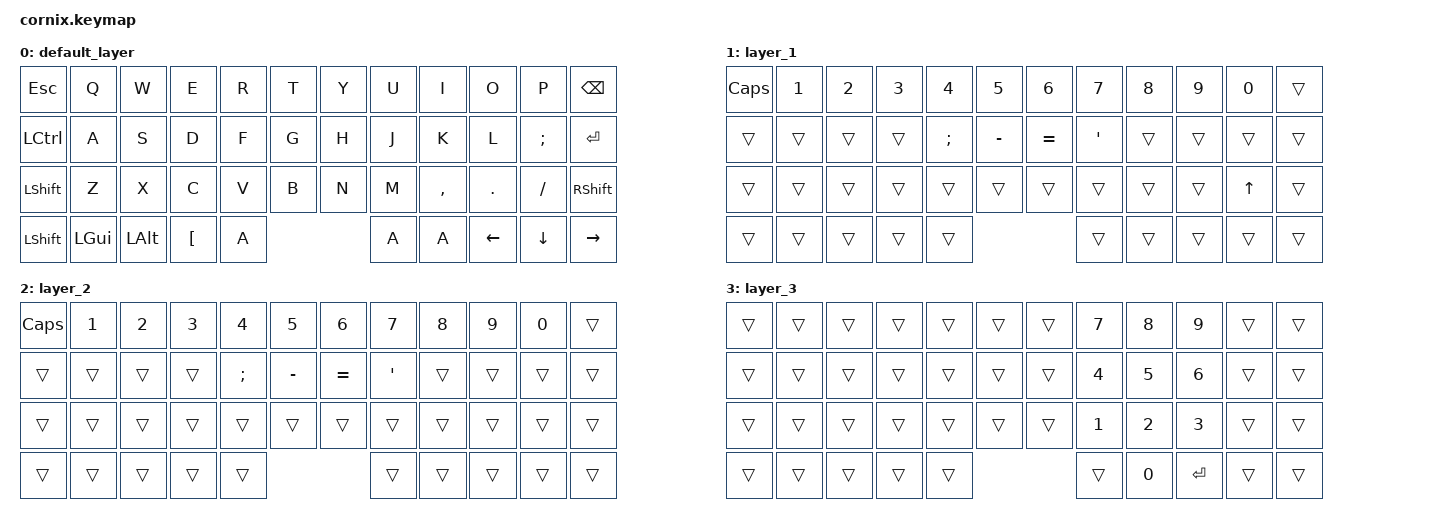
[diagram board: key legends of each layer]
#include <behaviors.dtsi>
#include <dt-bindings/zmk/keys.h>
#include <dt-bindings/zmk/bt.h>

/ {
    keymap {
        compatible = "zmk,keymap";

        default_layer {
            // Layer 0 (Base)
            // -----------------------------------------------------------------------------------------
            // |  ESC |  Q  |  W  |  E  |  R  |  T  |   |  Y  |  U   |  I  |  O  |  P  | BKSP |
            // | CTRL |  A  |  S  |  D  |  F  |  G  |   |  H  |  J   |  K  |  L  |  ;  | RET  |
            // | SHFT |  Z  |  X  |  C  |  V  |  B  |   |  N  |  M   |  ,  |  .  |  /  | SHFT |
            // | SHFT | GUI | ALT |            [  |  A  | A  |  A  |           | LFT | DWN | RGHT |
            bindings = <
&kp ESC   &kp Q    &kp W    &kp E   &kp R   &kp T      &kp Y   &kp U    &kp I     &kp O   &kp P    &kp BSPC
&kp LCTRL &kp A    &kp S    &kp D   &kp F   &kp G      &kp H   &kp J    &kp K     &kp L   &kp SEMI &kp RET
&kp LSHFT &kp Z    &kp X    &kp C   &kp V   &kp B      &kp N   &kp M    &kp COMMA &kp DOT &kp FSLH &kp RSHFT
&kp LSHFT &kp LGUI &kp LALT         &kp LBKT &kp A     &kp A   &kp A              &kp LEFT &kp DOWN &kp RIGHT
            >;
        };

        layer_1 {
            // Layer 1
            // -----------------------------------------------------------------------------------------
            // | CAPS |  1  |  2  |  3  |  4  |  5  |   |  6  |  7  |  8  |  9  |  0  |      |
            // |      |     |     |     |  ;  |  -  |   |  =  |  '  |     |     |     |      |
            // |      |     |     |     |     |     |   |     |     |     |     |  UP |      |
            // |      |     |     |           |     |   |     |     |           |     |     |      |
            bindings = <
&kp CAPS &kp N1 &kp N2 &kp N3 &kp N4   &kp N5      &kp N6    &kp N7  &kp N8 &kp N9 &kp N0 &trans
&trans   &trans &trans &trans &kp SEMI &kp MINUS   &kp EQUAL &kp SQT &trans &trans &trans &trans
&trans   &trans &trans &trans &trans   &trans      &trans    &trans  &trans &trans &kp UP &trans
&trans   &trans &trans        &trans   &trans      &trans    &trans         &trans &trans &trans
            >;
        };

        layer_2 {
            // Layer 2
            // -----------------------------------------------------------------------------------------
            // | CAPS |  1  |  2  |  3  |  4  |  5  |   |  6  |  7  |  8  |  9  |  0  |      |
            // |      |     |     |     |  ;  |  -  |   |  =  |  '  |     |     |     |      |
            // |      |     |     |     |     |     |   |     |     |     |     |     |      |
            // |      |     |     |           |     |   |     |     |           |     |     |      |
            // ※画像2枚目の右下（UP矢印があった位置）のキーが紫色になっています。おそらく「レイヤー切り替え(mo/lt)等」や特定の機能だと思いますが、キートップに印字がないため、ご自身の意図したキーコード（例: &mo 3, &kp RET など）に変更してください。
            bindings = <
&kp CAPS &kp N1 &kp N2 &kp N3 &kp N4   &kp N5      &kp N6    &kp N7  &kp N8 &kp N9 &kp N0 &trans
&trans   &trans &trans &trans &kp SEMI &kp MINUS   &kp EQUAL &kp SQT &trans &trans &trans &trans
&trans   &trans &trans &trans &trans   &trans      &trans    &trans  &trans &trans &trans &trans
&trans   &trans &trans        &trans   &trans      &trans    &trans         &trans &trans &trans
            >;
        };

        layer_3 {
            // Layer 3 (Numpad)
            // -----------------------------------------------------------------------------------------
            // |      |     |     |     |     |     |   |     |  7  |  8  |  9  |     |      |
            // |      |     |     |     |     |     |   |     |  4  |  5  |  6  |     |      |
            // |      |     |     |     |     |     |   |     |  1  |  2  |  3  |     |      |
            // |      |     |     |           |     |   |     |  0  |           | RET |     |      |
            // ※右下の紫色のキー（Enterの右）も印字がないため、ひとまず &trans にしています。
            bindings = <
&trans &trans &trans &trans &trans &trans      &trans &kp N7 &kp N8 &kp N9 &trans &trans
&trans &trans &trans &trans &trans &trans      &trans &kp N4 &kp N5 &kp N6 &trans &trans
&trans &trans &trans &trans &trans &trans      &trans &kp N1 &kp N2 &kp N3 &trans &trans
&trans &trans &trans        &trans &trans      &trans &kp N0        &kp RET &trans &trans
            >;
        };
    };
};
